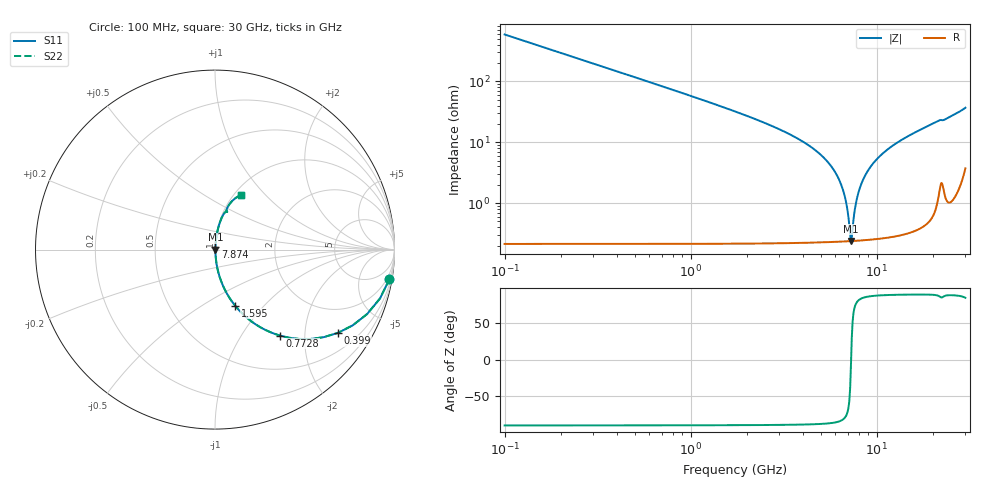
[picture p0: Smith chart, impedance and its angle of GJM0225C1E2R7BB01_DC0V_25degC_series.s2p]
!Murata Part Number: GJM0225C1E2R7BB01
!These Parameters are Measured in Series Mode Connection
!  o--ll--o
!Port1  Port2
!  o------o
!Operation Temp=25[degC], DC Bias Voltage=0[V]
!Freq. Start=100[MHz] Stop=30[GHz], 401[Steps]
!Data Generated on Feb 1, 2023
# Hz S RI R 50
!Freq.(Hz) S11(Real) S11(Imag) S21(Real) S21(Imag) S12(Real) S12(Imag) S22(Real) S22(Imag)
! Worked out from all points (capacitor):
!   401 points, 100 MHz to 30 GHz, reference 50 ohm
!   read as one part in series: C = 2.7 pF near 249.5 MHz
!   lowest |Z| = 240 mohm at 7.276 GHz (marker M1)
!   series resonance near 7.29 GHz, so ESL is about 180 pH
!   S11 on the Smith chart (normalised r, x): 100 MHz: 1, -12; 399 MHz: 1.00, -2.95; 772.8 MHz: 1.00, -1.51; 1.595 GHz: 1.00, -0.70; 7.874 GHz: 1.00, +0.03; 30 GHz: 1.07, +0.73
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1e8  0.972 -0.1649  0.028 0.1649  0.028 0.1649  0.972 -0.1649
3.99e8  0.6842 -0.4641  0.3158 0.4641  0.3158 0.4641  0.6842 -0.4641
7.7275e8  0.363 -0.4794  0.637 0.4794  0.637 0.4794  0.363 -0.4794
1.1465e9  0.202 -0.3993  0.798 0.3993  0.798 0.3993  0.202 -0.3993
1.595e9  0.1117 -0.3119  0.8883 0.3119  0.8883 0.3119  0.1117 -0.3119
2.9405e9  0.0294 -0.1626  0.9706 0.1626  0.9706 0.1626  0.0294 -0.1626
5.10825e9  0.00569 -0.0584  0.9943 0.0584  0.9943 0.0584  0.00569 -0.0584
5.9305e9  0.00343 -0.0335  0.9966 0.0335  0.9966 0.0335  0.00343 -0.0335
6.5285e9  0.00266 -0.0178  0.9973 0.0178  0.9973 0.0178  0.00266 -0.0178
6.8275e9  0.00246 -0.0106  0.9975 0.0106  0.9975 0.0106  0.00246 -0.0106
7.20125e9  0.00238 -0.00199  0.9976 0.00199  0.9976 0.00199  0.00238 -0.00199
7.276e9  0.00238 -0.000319  0.9976 0.000319  0.9976 0.000319  0.00238 -0.000319
7.4255e9  0.00239 0.00297  0.9976 -0.00297  0.9976 -0.00297  0.00239 0.00297
7.64975e9  0.00246 0.00777  0.9975 -0.00777  0.9975 -0.00777  0.00246 0.00777
7.874e9  0.00257 0.0125  0.9974 -0.0125  0.9974 -0.0125  0.00257 0.0125
8.69625e9  0.00329 0.0286  0.9967 -0.0286  0.9967 -0.0286  0.00329 0.0286
1.01165e10  0.00549 0.0539  0.9945 -0.0539  0.9945 -0.0539  0.00549 0.0539
1.213475e10  0.0102 0.0858  0.9898 -0.0858  0.9898 -0.0858  0.0102 0.0858
1.505e10  0.0197 0.1272  0.9803 -0.1272  0.9803 -0.1272  0.0197 0.1272
2.005825e10  0.0449 0.1927  0.9551 -0.1927  0.9551 -0.1927  0.0449 0.1927
2.50665e10  0.0749 0.2444  0.9251 -0.2444  0.9251 -0.2444  0.0749 0.2444
3e10  0.1431 0.3031  0.8569 -0.3031  0.8569 -0.3031  0.1431 0.3031
